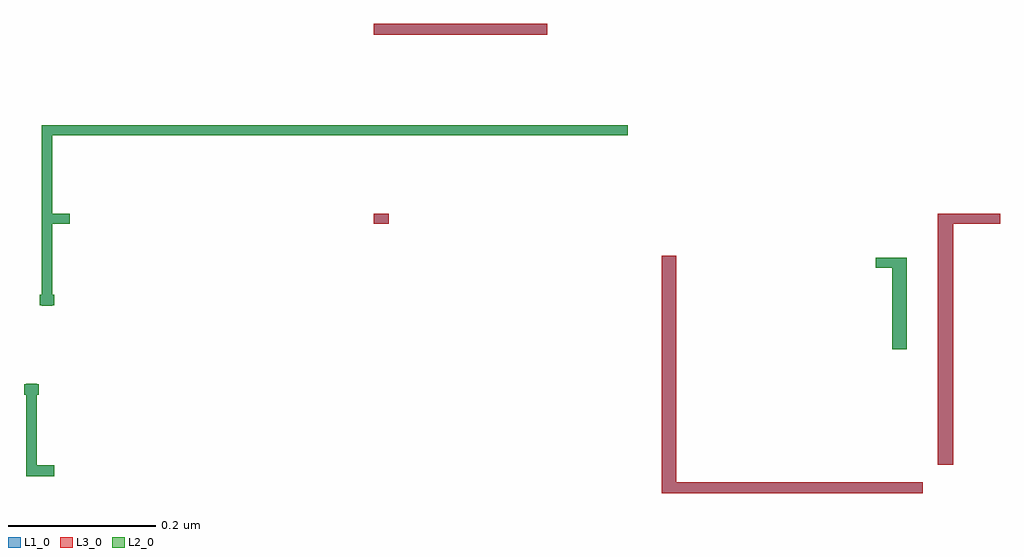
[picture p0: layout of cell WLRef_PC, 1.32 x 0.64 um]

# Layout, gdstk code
import gdstk
lib = gdstk.Library(unit=1e-6, precision=5e-10)
def R(c, l, rs):  # rectangles x0, y0, x1, y1
    for r in rs: c.add(gdstk.rectangle(r[:2], r[2:], *l))
def P(c, l, *ps):  # polygons
    for p in ps: c.add(gdstk.Polygon(p, *l))
L1_0 = (1, 0)
L2_0 = (2, 0)
L3_0 = (3, 0)

wlref_pc = lib.new_cell('WLRef_PC')
R(wlref_pc, L1_0, [(0.5835,0.4405,0.6035,0.4545), (0.5835,0.697,0.818,0.712)])
P(wlref_pc, L1_0, [(1.4315,0.4545),(1.4315,0.4405),(1.3685,0.4405),(1.3685,0.1145),(1.3475,0.1145),(1.3475,0.4545)],
  [(1.3055,0.395),(1.3055,0.271),(1.2855,0.271),(1.2855,0.381),(1.2635,0.381),(1.2635,0.395)],
  [(0.993,0.3975),(0.993,0.0905),(1.327,0.0905),(1.327,0.0755),(0.973,0.0755),(0.973,0.3975)],
  [(0.9275,0.5745),(0.9275,0.5605),(0.1475,0.5605),(0.1475,0.4545),(0.1715,0.4545),(0.1715,0.4405),(0.1475,0.4405),(0.1475,0.3445),(0.1505,0.3445),(0.1505,0.3305),(0.1475,0.3305),(0.1475,0.33),(0.1335,0.33),(0.1335,0.3305),(0.1305,0.3305),(0.1305,0.3445),(0.1335,0.3445),(0.1335,0.5745)],
  [(0.1265,0.224),(0.1265,0.2235),(0.1295,0.2235),(0.1295,0.2095),(0.1265,0.2095),(0.1265,0.114),(0.1505,0.114),(0.1505,0.099),(0.1125,0.099),(0.1125,0.2095),(0.1095,0.2095),(0.1095,0.2235),(0.1125,0.2235),(0.1125,0.224)])
P(wlref_pc, L2_0, [(1.3055,0.395),(1.3055,0.271),(1.2855,0.271),(1.2855,0.381),(1.2635,0.381),(1.2635,0.395)],
  [(0.9275,0.5745),(0.9275,0.5605),(0.1475,0.5605),(0.1475,0.4545),(0.1715,0.4545),(0.1715,0.4405),(0.1475,0.4405),(0.1475,0.3445),(0.1505,0.3445),(0.1505,0.3305),(0.1475,0.3305),(0.1475,0.33),(0.1335,0.33),(0.1335,0.3305),(0.1305,0.3305),(0.1305,0.3445),(0.1335,0.3445),(0.1335,0.5745)],
  [(0.1265,0.224),(0.1265,0.2235),(0.1295,0.2235),(0.1295,0.2095),(0.1265,0.2095),(0.1265,0.114),(0.1505,0.114),(0.1505,0.099),(0.1125,0.099),(0.1125,0.2095),(0.1095,0.2095),(0.1095,0.2235),(0.1125,0.2235),(0.1125,0.224)])
R(wlref_pc, L3_0, [(0.5835,0.4405,0.6035,0.4545), (0.5835,0.697,0.818,0.712)])
P(wlref_pc, L3_0, [(1.4315,0.4545),(1.4315,0.4405),(1.3685,0.4405),(1.3685,0.1145),(1.3475,0.1145),(1.3475,0.4545)],
  [(0.993,0.3975),(0.993,0.0905),(1.327,0.0905),(1.327,0.0755),(0.973,0.0755),(0.973,0.3975)])

lib.write_gds('WLRef_PC.gds')
